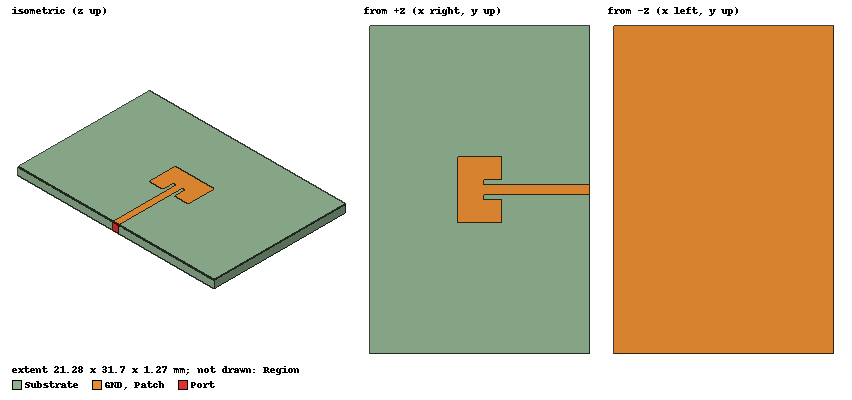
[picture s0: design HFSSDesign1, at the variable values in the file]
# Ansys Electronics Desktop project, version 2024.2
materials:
  vacuum: permittivity=1
  Sub: permittivity=10.2 dielectric_loss_tangent=0.003
  air: permittivity=1.0006 permeability=1.0000004

design HFSSDesign1 (HFSS, HFSS Modal Network, model units mm)
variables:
  W = 0.6339cm
  L = 0.4255cm
  h = 0.127cm
  W0 = 0.0966cm
  y0 = 0.1714cm
  x0 = W/2
  lambda = 3cm
  d0 = 0.45mm
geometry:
  Substrate [Sub] = box(corner=(-5*L/2, -5*W/2, 0mm), size=(5*L, 5*W, h))
  GND [Sub] = object_from(Substrate.face(-z))
  Patch = rectangle(corner=(-L/2, -W/2, h), x_size=L, y_size=W)
  Transition = rectangle(corner=(L/2-y0, -W0/2, h), x_size=lambda/4, y_size=W0)
  Microstrip = rectangle(corner=(L/2-y0+lambda/4, -W0/2, h), x_size=5*L/2-(L/2-y0+lambda/4), y_size=W0)
  Patch.unite(Microstrip, Transition)
  Cut1 = rectangle(corner=(L/2-y0, -W0/2-d0, h), x_size=y0, y_size=d0)
  Cut2 = rectangle(corner=(L/2-y0, W0/2, h), x_size=y0, y_size=d0)
  Patch.subtract(Cut1, Cut2)
  Region [air] = region(absolute_offset=lambda/4 on all sides)
  Port = rectangle(corner=(5*L/2, -W0/2, h), y_size=W0, z_size=-h)
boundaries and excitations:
  PerfE1: Perfect E Objects=GND
  PerfE2: Perfect E Objects=Patch
  Rad1: Radiation Objects=Region
  1: Lumped Port Objects=Port LumpedPortType=Modal Modes{Mode1{IntLine{(10.6375, 0, 0) -> (10.6375, 0, 1.27)} CharImp=Zpi}} Impedance=50ohm
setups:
  Setup1: HfssDriven Frequency=10GHz MaxDeltaS=0.02 MaximumPasses=20 MinimumPasses=1 MinimumConvergedPasses=1 PercentRefinement=30 BasisOrder=1 PortAccuracy=2 DrivenSolverType="Direct Solver"
    sweep Sweep: 8GHz to 14GHz, 6000 points; Type=Fast SaveFields
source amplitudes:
  1:1: 1W 0deg
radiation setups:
  E_plane: Infinite Sphere Theta=-180deg..180deg step 1deg Phi=0deg..0deg step 0deg
  H_plane: Infinite Sphere Theta=90deg..90deg step 0deg Phi=0deg..360deg step 1deg
  3D_Sphere: Infinite Sphere Theta=0deg..180deg step 1deg Phi=0deg..360deg step 1deg
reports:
  S Parameter Plot 1: dB(S(1,1)) vs Freq on Setup1 : Sweep; markers m1 at 9.7842974GHz, m2 at 9.5982664GHz, m3 at 9.9653276GHz
  Z Parameter Plot 1: re(Z(1,1)), im(Z(1,1)) vs Freq on Setup1 : Sweep; markers m1 at 9.7842974GHz, m2 at 9.7842974GHz
  Gain Plot 1: dB(GainTotal) vs Theta on Setup1 : LastAdaptive, E_plane [Phi=all Freq=10GHz]
  Gain Plot 2: dB(GainTotal) vs Theta on Setup1 : Sweep, E_plane [Phi=all Freq=9.7843GHz]; markers m1 at 4deg, m2 at -151deg
  Gain Plot 3: dB(GainTotal) vs Phi on Setup1 : LastAdaptive, H_plane [Theta=all Freq=10GHz]
  Gain Plot 4: dB(GainTotal) vs Phi on Setup1 : Sweep, H_plane [Theta=all Freq=9.7843GHz]; markers m1 at 124deg, m2 at 26deg
  Gain Plot 5: dB(GainTotal) vs Phi, Theta on Setup1 : Sweep, 3D_Sphere [Freq=9.7843GHz]
